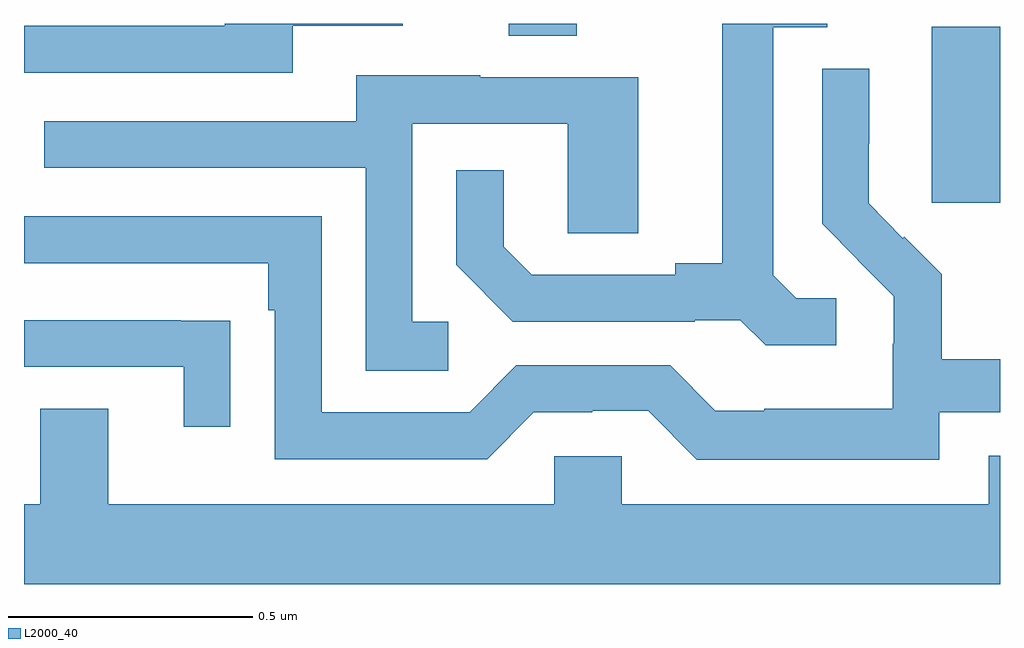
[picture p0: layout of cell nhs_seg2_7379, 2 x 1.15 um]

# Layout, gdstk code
import gdstk
lib = gdstk.Library(unit=1e-6, precision=1e-09)
def R(c, l, rs):  # rectangles x0, y0, x1, y1
    for r in rs: c.add(gdstk.rectangle(r[:2], r[2:], *l))
def P(c, l, *ps):  # polygons
    for p in ps: c.add(gdstk.Polygon(p, *l))
L2000_40 = (2000, 40)

nhs_seg2_7379 = lib.new_cell('nhs_seg2_7379')
R(nhs_seg2_7379, L2000_40, [(204.86,632.433,205,632.794), (203.993,632.776,204.133,632.8)])
P(nhs_seg2_7379, L2000_40, [(203.551,632.796),(203.776,632.796),(203.776,632.8),(203.411,632.8),(203.411,632.796),(203,632.796),(203,632.7),(203.551,632.7)],
  [(204.664,632.238),(204.582,632.238),(204.535,632.285),(204.535,632.793),(204.646,632.793),(204.646,632.8),(204.431,632.8),(204.431,632.309),(204.335,632.309),(204.335,632.286),(204.04,632.286),(203.983,632.343),(203.983,632.5),(203.886,632.5),(203.886,632.306),(204.002,632.19),(204.374,632.19),(204.374,632.193),(204.468,632.193),(204.52,632.141),(204.664,632.141)],
  [(204.876,632.004),(205,632.004),(205,632.113),(204.881,632.113),(204.881,632.287),(204.804,632.364),(204.801,632.361),(204.731,632.432),(204.731,632.554),(204.732,632.554),(204.732,632.708),(204.636,632.708),(204.636,632.39),(204.709,632.317),(204.708,632.316),(204.782,632.242),(204.782,632.145),(204.78,632.145),(204.78,632.011),(204.517,632.011),(204.517,632.007),(204.417,632.007),(204.324,632.1),(204.009,632.1),(203.913,632.004),(203.61,632.004),(203.61,632.406),(203,632.406),(203,632.31),(203.501,632.31),(203.501,632.213),(203.514,632.213),(203.514,631.908),(203.949,631.908),(204.045,632.004),(204.164,632.004),(204.164,632.007),(204.279,632.007),(204.379,631.907),(204.876,631.907)],
  [(203.869,632.19),(203.796,632.19),(203.796,632.595),(204.114,632.595),(204.114,632.371),(204.259,632.371),(204.259,632.691),(203.935,632.691),(203.935,632.695),(203.681,632.695),(203.681,632.601),(203.041,632.601),(203.041,632.505),(203.7,632.505),(203.7,632.089),(203.869,632.089)],
  [(203.423,632.192),(203.321,632.192),(203.321,632.193),(203,632.193),(203,632.097),(203.327,632.097),(203.327,631.974),(203.423,631.974)],
  [(205,631.915),(204.977,631.915),(204.977,631.816),(204.225,631.816),(204.225,631.914),(204.087,631.914),(204.087,631.816),(203.173,631.816),(203.173,632.011),(203.033,632.011),(203.033,631.816),(203,631.816),(203,631.652),(205,631.652)])

lib.write_gds('nhs_seg2_7379.gds')
